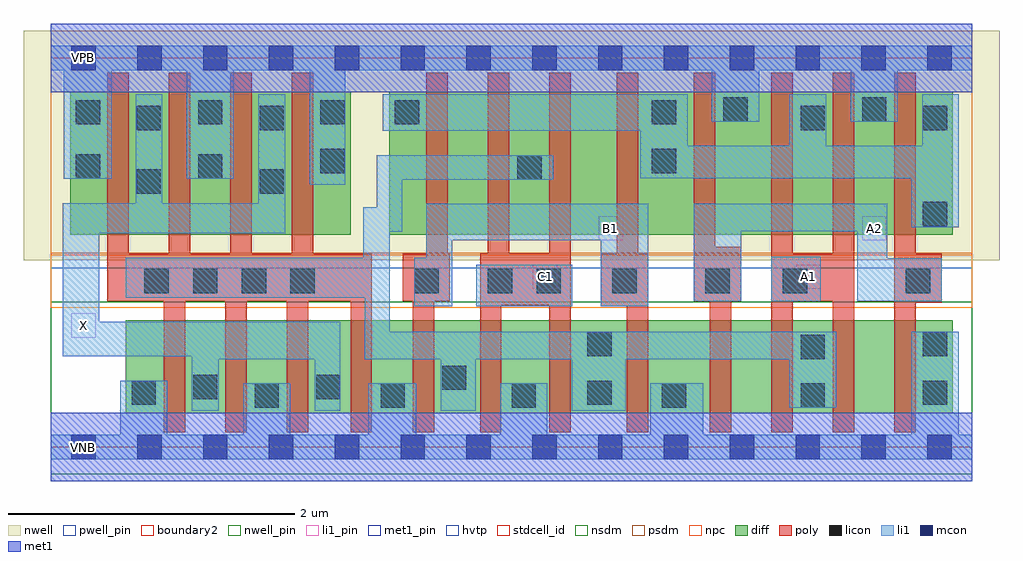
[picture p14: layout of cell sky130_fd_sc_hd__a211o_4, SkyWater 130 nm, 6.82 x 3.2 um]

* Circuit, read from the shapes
.subckt sky130_fd_sc_hd__a211o_4 A1 A2 B1 C1 VGND VNB VPB VPWR X
XM1 X n1 VGND VNB sky130_fd_pr__nfet_01v8 w=0.65 l=0.15 m=4
XM2 n1 B1 VGND VNB sky130_fd_pr__nfet_01v8 w=0.65 l=0.15 m=2
XM3 VGND C1 n1 VNB sky130_fd_pr__nfet_01v8 w=0.65 l=0.15 m=2
XM4 n2 A2 VGND VNB sky130_fd_pr__nfet_01v8 w=0.65 l=0.15
XM5 n1 A1 n2 VNB sky130_fd_pr__nfet_01v8 w=0.65 l=0.15
XM6 n3 A1 n1 VNB sky130_fd_pr__nfet_01v8 w=0.65 l=0.15
XM7 VGND A2 n3 VNB sky130_fd_pr__nfet_01v8 w=0.65 l=0.15
XM8 X n1 VPWR VPB sky130_fd_pr__pfet_01v8_hvt w=1 l=0.15 m=4
XM9 n4 B1 n5 VPB sky130_fd_pr__pfet_01v8_hvt w=1 l=0.15
XM10 n1 C1 n4 VPB sky130_fd_pr__pfet_01v8_hvt w=1 l=0.15
XM11 n6 C1 n1 VPB sky130_fd_pr__pfet_01v8_hvt w=1 l=0.15
XM12 n5 B1 n6 VPB sky130_fd_pr__pfet_01v8_hvt w=1 l=0.15
XM13 VPWR A2 n5 VPB sky130_fd_pr__pfet_01v8_hvt w=1 l=0.15 m=2
XM14 n5 A1 VPWR VPB sky130_fd_pr__pfet_01v8_hvt w=1 l=0.15 m=2
.ends

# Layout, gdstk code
import gdstk
lib = gdstk.Library(unit=1e-6, precision=1e-09)
def R(c, l, rs):  # rectangles x0, y0, x1, y1
    for r in rs: c.add(gdstk.rectangle(r[:2], r[2:], *l))
def A(c, l, x, y, w, h, nx, ny, dx, dy):  # array of equal rectangles
    R(c, l, [(x+i*dx, y+j*dy, x+i*dx+w, y+j*dy+h) for i in range(nx) for j in range(ny)])
def P(c, l, *ps):  # polygons
    for p in ps: c.add(gdstk.Polygon(p, *l))
nwell_pin = (64, 16)
nwell = (64, 20)
diff = (65, 20)
poly = (66, 20)
licon = (66, 44)
li1_pin = (67, 16)
li1 = (67, 20)
mcon = (67, 44)
met1_pin = (68, 16)
met1 = (68, 20)
hvtp = (78, 44)
stdcell_id = (81, 4)
nsdm = (93, 44)
psdm = (94, 20)
npc = (95, 20)
pwell_pin = (122, 16)
boundary2 = (236, 0)

sky130_fd_sc_hd__a211o_4 = lib.new_cell('sky130_fd_sc_hd__a211o_4')
R(sky130_fd_sc_hd__a211o_4, nwell_pin, [(0.145,2.635,0.315,2.805)])
R(sky130_fd_sc_hd__a211o_4, nwell, [(-0.19,1.305,6.63,2.91)])
R(sky130_fd_sc_hd__a211o_4, diff, [(0.525,0.235,6.305,0.885), (0.135,1.485,2.095,2.485), (2.365,1.485,6.305,2.485)])
R(sky130_fd_sc_hd__a211o_4, poly, [(6.045,1.01,6.225,1.02)])
P(sky130_fd_sc_hd__a211o_4, poly, [(2.245,1.35),(1.835,1.35),(1.835,2.615),(1.685,2.615),(1.685,1.35),(1.405,1.35),(1.405,2.615),(1.255,2.615),(1.255,1.35),(0.975,1.35),(0.975,2.615),(0.825,2.615),(0.825,1.35),(0.545,1.35),(0.545,2.615),(0.395,2.615),(0.395,1.02),(0.79,1.02),(0.79,0.105),(0.94,0.105),(0.94,1.02),(1.22,1.02),(1.22,0.105),(1.37,0.105),(1.37,1.02),(1.65,1.02),(1.65,0.105),(1.8,0.105),(1.8,1.02),(2.095,1.02),(2.095,0.105),(2.245,0.105)],
  [(2.79,1.35),(2.775,1.35),(2.775,2.615),(2.625,2.615),(2.625,1.35),(2.46,1.35),(2.46,1.02),(2.53,1.02),(2.53,0.105),(2.68,0.105),(2.68,1.02),(2.79,1.02)],
  [(3.635,2.615),(3.485,2.615),(3.485,1.355),(3.205,1.355),(3.205,2.615),(3.055,2.615),(3.055,1.355),(3,1.355),(3,0.105),(3.15,0.105),(3.15,0.99),(3.485,0.99),(3.485,0.105),(3.635,0.105)],
  [(4.175,1.35),(4.105,1.35),(4.105,2.615),(3.955,2.615),(3.955,1.35),(3.845,1.35),(3.845,0.985),(4.025,0.985),(4.025,0.105),(4.175,0.105)],
  [(4.825,1.4),(4.645,1.4),(4.645,2.615),(4.495,2.615),(4.495,1.02),(4.605,1.02),(4.605,0.105),(4.755,0.105),(4.755,1.02),(4.825,1.02)],
  [(5.615,2.615),(5.465,2.615),(5.465,1.35),(5.185,1.35),(5.185,2.615),(5.035,2.615),(5.035,0.105),(5.185,0.105),(5.185,1.02),(5.465,1.02),(5.465,0.105),(5.615,0.105)],
  [(6.225,1.35),(6.045,1.35),(6.045,2.615),(5.895,2.615),(5.895,0.105),(6.045,0.105),(6.045,1.02),(6.225,1.02)])
A(sky130_fd_sc_hd__a211o_4, licon, 0.655, 1.075, 0.17, 0.17, 4, 1, 0.34, 0)
A(sky130_fd_sc_hd__a211o_4, licon, 0.175, 2.255, 0.17, 0.17, 3, 1, 0.855, 0)
R(sky130_fd_sc_hd__a211o_4, licon, [(1.425,0.275,1.595,0.445), (2.305,0.275,2.475,0.445), (3.22,0.275,3.39,0.445), (4.27,0.275,4.44,0.445), (5.24,0.275,5.41,0.445), (0.565,0.295,0.735,0.465), (3.75,0.295,3.92,0.465), (6.095,0.295,6.265,0.465), (0.995,0.335,1.165,0.505), (1.855,0.335,2.025,0.505), (2.735,0.4,2.905,0.57), (5.24,0.615,5.41,0.785), (3.75,0.635,3.92,0.805), (6.095,0.635,6.265,0.805), (2.54,1.075,2.71,1.245), (3.055,1.075,3.225,1.245), (3.395,1.075,3.565,1.245), (3.925,1.075,4.095,1.245), (4.575,1.075,4.745,1.245), (5.115,1.075,5.285,1.245), (5.975,1.075,6.145,1.245), (6.095,1.545,6.265,1.715), (0.6,1.77,0.77,1.94), (1.46,1.77,1.63,1.94), (3.26,1.87,3.43,2.04), (0.175,1.875,0.345,2.045), (1.03,1.875,1.2,2.045), (1.885,1.915,2.055,2.085), (4.2,1.915,4.37,2.085), (0.6,2.215,0.77,2.385), (1.46,2.215,1.63,2.385), (5.24,2.215,5.41,2.385), (6.095,2.215,6.265,2.385), (2.405,2.255,2.575,2.425), (4.2,2.255,4.37,2.425), (4.7,2.275,4.87,2.445), (5.67,2.275,5.84,2.445)])
R(sky130_fd_sc_hd__a211o_4, li1_pin, [(0.145,0.765,0.315,0.935), (3.37,1.105,3.54,1.275), (5.21,1.105,5.38,1.275), (3.83,1.445,4,1.615), (5.67,1.445,5.84,1.615)])
R(sky130_fd_sc_hd__a211o_4, li1, [(2.975,0.985,3.645,1.275), (5.035,1.02,5.38,1.33)])
P(sky130_fd_sc_hd__a211o_4, li1, [(6.44,0.085),(6.345,0.085),(6.345,0.805),(6.015,0.805),(6.015,0.085),(4.56,0.085),(4.56,0.445),(4.19,0.445),(4.19,0.085),(3.47,0.085),(3.47,0.445),(3.14,0.445),(3.14,0.085),(2.555,0.085),(2.555,0.445),(2.22,0.445),(2.22,0.085),(1.675,0.085),(1.675,0.445),(1.345,0.445),(1.345,0.085),(0.815,0.085),(0.815,0.465),(0.485,0.465),(0.485,0.085),(0,0.085),(0,-0.085),(6.44,-0.085)],
  [(6.44,2.805),(0,2.805),(0,2.635),(0.09,2.635),(0.09,1.875),(0.425,1.875),(0.425,2.635),(0.95,2.635),(0.95,1.875),(1.28,1.875),(1.28,2.635),(1.81,2.635),(1.81,1.835),(2.06,1.835),(2.06,2.635),(4.62,2.635),(4.62,2.275),(4.95,2.275),(4.95,2.635),(5.59,2.635),(5.59,2.275),(5.92,2.275),(5.92,2.635),(6.44,2.635)],
  [(2.025,0.875),(0.34,0.875),(0.34,1.495),(1.64,1.495),(1.64,2.465),(1.45,2.465),(1.45,1.705),(0.78,1.705),(0.78,2.465),(0.595,2.465),(0.595,1.705),(0.085,1.705),(0.085,0.635),(0.985,0.635),(0.985,0.255),(1.175,0.255),(1.175,0.615),(1.845,0.615),(1.845,0.255),(2.025,0.255)],
  [(5.49,0.805),(2.37,0.805),(2.37,1.505),(2.455,1.505),(2.455,1.87),(3.51,1.87),(3.51,2.04),(2.28,2.04),(2.28,1.675),(2.185,1.675),(2.185,1.325),(0.525,1.325),(0.525,1.045),(2.195,1.045),(2.195,0.615),(2.725,0.615),(2.725,0.255),(2.97,0.255),(2.97,0.615),(3.64,0.615),(3.64,0.255),(4.02,0.255),(4.02,0.615),(5.16,0.615),(5.16,0.275),(5.49,0.275)],
  [(4.175,1.7),(2.625,1.7),(2.625,1.325),(2.54,1.325),(2.54,0.985),(2.805,0.985),(2.805,1.445),(3.845,1.445),(3.845,0.985),(4.175,0.985)],
  [(6.225,1.32),(5.845,1.32),(5.845,1.7),(4.495,1.7),(4.495,1.02),(4.825,1.02),(4.825,1.51),(5.635,1.51),(5.635,1.02),(6.225,1.02)],
  [(6.345,2.465),(6.09,2.465),(6.09,2.105),(5.42,2.105),(5.42,2.465),(5.16,2.465),(5.16,2.105),(4.45,2.105),(4.45,2.465),(2.32,2.465),(2.32,2.21),(4.12,2.21),(4.12,1.88),(6.015,1.88),(6.015,1.535),(6.345,1.535)])
A(sky130_fd_sc_hd__a211o_4, mcon, 0.145, -0.085, 0.17, 0.17, 14, 2, 0.46, 2.72)
R(sky130_fd_sc_hd__a211o_4, met1_pin, [(0.145,-0.085,0.315,0.085), (0.145,2.635,0.315,2.805)])
R(sky130_fd_sc_hd__a211o_4, hvtp, [(0,1.25,6.44,2.72)])
R(sky130_fd_sc_hd__a211o_4, stdcell_id, [(0,0,6.44,2.72)])
R(sky130_fd_sc_hd__a211o_4, nsdm, [(0,-0.19,6.44,1.015)])
R(sky130_fd_sc_hd__a211o_4, psdm, [(0,1.355,6.44,2.91)])
R(sky130_fd_sc_hd__a211o_4, npc, [(0,0.975,6.44,1.345)])
R(sky130_fd_sc_hd__a211o_4, pwell_pin, [(0.145,-0.085,0.315,0.085)])
R(sky130_fd_sc_hd__a211o_4, boundary2, [(0,0,6.44,2.72)])
sky130_fd_sc_hd__a211o_4.add(gdstk.FlexPath([(0,0),(6.44,0)], 0.48, ends="flush", simple_path=True, layer=68, datatype=20))  # met1
sky130_fd_sc_hd__a211o_4.add(gdstk.FlexPath([(0,2.72),(6.44,2.72)], 0.48, ends="flush", simple_path=True, layer=68, datatype=20))  # met1
sky130_fd_sc_hd__a211o_4.add(gdstk.Label('VNB', (0.23,0), layer=64, texttype=59))
sky130_fd_sc_hd__a211o_4.add(gdstk.Label('VPB', (0.23,2.72), layer=64, texttype=5))
sky130_fd_sc_hd__a211o_4.add(gdstk.Label('VGND', (0.23,0), layer=68, texttype=5))
sky130_fd_sc_hd__a211o_4.add(gdstk.Label('VPWR', (0.23,2.72), layer=68, texttype=5))
sky130_fd_sc_hd__a211o_4.add(gdstk.Label('C1', (3.455,1.19), layer=67, texttype=5))
sky130_fd_sc_hd__a211o_4.add(gdstk.Label('B1', (3.915,1.53), layer=67, texttype=5))
sky130_fd_sc_hd__a211o_4.add(gdstk.Label('X', (0.23,0.85), layer=67, texttype=5))
sky130_fd_sc_hd__a211o_4.add(gdstk.Label('A2', (5.755,1.53), layer=67, texttype=5))
sky130_fd_sc_hd__a211o_4.add(gdstk.Label('A1', (5.295,1.19), layer=67, texttype=5))
sky130_fd_sc_hd__a211o_4.add(gdstk.Label('a211o_4', (0,0), layer=83, texttype=44))

lib.write_gds('sky130_fd_sc_hd__a211o_4.gds')
